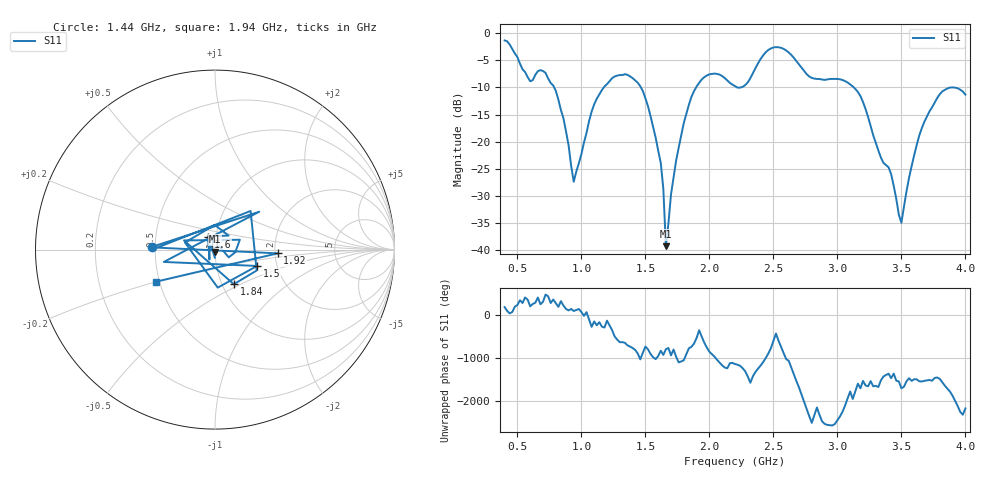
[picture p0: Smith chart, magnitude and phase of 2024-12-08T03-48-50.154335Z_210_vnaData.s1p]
!Created with skrf (http://scikit-rf.org).
# Hz S RI R 50.0
!freq ReS11 ImS11
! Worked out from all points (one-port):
!   181 points, 400 MHz to 4 GHz, reference 50 ohm
!   lowest |S11| = -39.3 dB at 1.66 GHz (marker M1), VSWR 1.02, Z = 50.1 - j1.08 ohm
!   |S11| at or under -10 dB: 787.4 MHz to 1.174 GHz (387.1 MHz wide, 39.5 % of centre); 1.465 GHz to 1.896 GHz (430.9 MHz wide, 25.6 % of centre); 3.129 GHz to 3.894 GHz (765.5 MHz wide, 21.8 % of centre) (the widest 3 of 5)
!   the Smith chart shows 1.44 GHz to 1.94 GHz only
!   S11 on the Smith chart (normalised r, x): 1.44 GHz: 0.48, +0.02; 1.5 GHz: 1.58, -0.31; 1.6 GHz: 0.92, +0.13; 1.84 GHz: 1.14, -0.46; 1.92 GHz: 2.07, -0.10; 1.94 GHz: 0.48, -0.20
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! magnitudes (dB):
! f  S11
! 400 MHz  -1.3
! 600 MHz  -8.9
! 720 MHz  -7.3
! 860 MHz  -15.7
! 940 MHz  -27.4
! 1.1 GHz  -13.1
! 1.3 GHz  -7.7
! 1.44 GHz  -9.1
! 1.5 GHz  -12.0
! 1.6 GHz  -21.7
! 1.64 GHz  -28.7
! 1.66 GHz  -39.3
! 1.7 GHz  -29.8
! 1.76 GHz  -21.1
! 1.84 GHz  -13.2
! 1.92 GHz  -9.1
! 1.94 GHz  -8.5
! 2.2 GHz  -9.8
! 2.48 GHz  -2.8
! 2.66 GHz  -4.5
! 2.8 GHz  -8.2
! 3.1 GHz  -9.4
! 3.42 GHz  -26.0
! 3.5 GHz  -35.0
! 3.56 GHz  -26.7
! 3.66 GHz  -17.5
! 3.8 GHz  -11.2
! 4 GHz  -11.3
